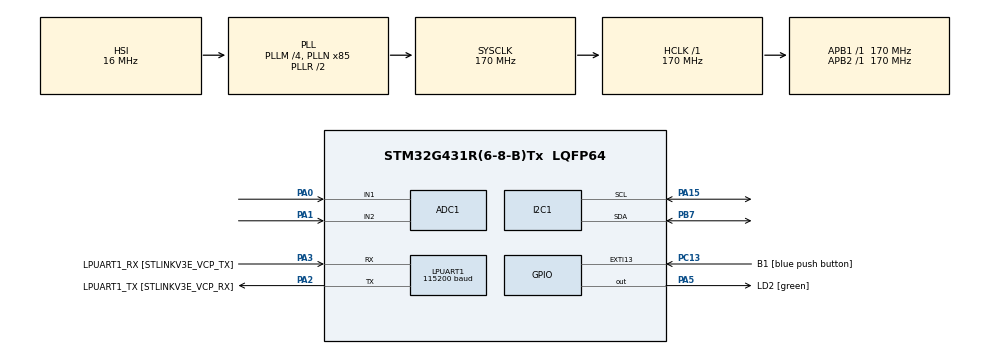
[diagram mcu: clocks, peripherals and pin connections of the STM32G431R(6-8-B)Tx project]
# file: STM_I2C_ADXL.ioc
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ADC1.Channel-0\#ChannelRegularConversion=ADC_CHANNEL_1
ADC1.NbrOfConversionFlag=1
ADC1.OffsetNumber-0\#ChannelRegularConversion=ADC_OFFSET_NONE
ADC1.Rank-0\#ChannelRegularConversion=1
ADC1.SamplingTime-0\#ChannelRegularConversion=ADC_SAMPLETIME_2CYCLES_5
ADC1.SingleDiff-0\#ChannelRegularConversion=ADC_DIFFERENTIAL_ENDED
ADC1.master=1
I2C1.Timing=0x30A0A7FB
LPUART1.BaudRate=115200
LPUART1.WordLength=UART_WORDLENGTH_8B
Mcu.Family=STM32G4
Mcu.Name=STM32G431R(6-8-B)Tx
Mcu.Package=LQFP64
NVIC.PriorityGroup=NVIC_PRIORITYGROUP_4
PA0.Mode=IN1-Differential
PA0.Signal=ADC1_IN1
PA1.Mode=IN1-Differential
PA1.Signal=ADC1_IN2
PA15.Mode=I2C
PA15.Signal=I2C1_SCL
PA2.GPIO_Label=LPUART1_TX [STLINKV3E_VCP_RX]
PA2.Mode=Asynchronous
PA2.Signal=LPUART1_TX
PA3.GPIO_Label=LPUART1_RX [STLINKV3E_VCP_TX]
PA3.Mode=Asynchronous
PA3.Signal=LPUART1_RX
PA5.GPIO_Label=LD2 [green]
PA5.Signal=GPIO_Output
PB3.GPIO_Label=T_SWO
PB3.Signal=SYS_JTDO-SWO
PB7.Mode=I2C
PB7.Signal=I2C1_SDA
PC13.GPIO_Label=B1 [blue push button]
PC13.Signal=GPXTI13
PC14-OSC32_IN.Mode=LSE-External-Oscillator
PC14-OSC32_IN.Signal=RCC_OSC32_IN
PC15-OSC32_OUT.Mode=LSE-External-Oscillator
PC15-OSC32_OUT.Signal=RCC_OSC32_OUT
PF0-OSC_IN.Mode=HSE-External-Oscillator
PF0-OSC_IN.Signal=RCC_OSC_IN
PF1-OSC_OUT.Mode=HSE-External-Oscillator
PF1-OSC_OUT.Signal=RCC_OSC_OUT
ProjectManager.HeapSize=0x200
ProjectManager.StackSize=0x400
ProjectManager.TargetToolchain=MDK-ARM V5.27
RCC.ADC12Freq_Value=170000000
RCC.AHBFreq_Value=170000000
RCC.APB1Freq_Value=170000000
RCC.APB1TimFreq_Value=170000000
RCC.APB2Freq_Value=170000000
RCC.APB2TimFreq_Value=170000000
RCC.CortexFreq_Value=170000000
RCC.EXTERNAL_CLOCK_VALUE=12288000
RCC.HCLKFreq_Value=170000000
RCC.HSE_VALUE=24000000
RCC.HSI48_VALUE=48000000
RCC.HSI_VALUE=16000000
RCC.PLLM=RCC_PLLM_DIV4
RCC.PLLN=85
RCC.RTCClockSelection=RCC_RTCCLKSOURCE_LSE
RCC.SYSCLKFreq_VALUE=170000000
RCC.SYSCLKSource=RCC_SYSCLKSOURCE_PLLCLK
RCC.USBFreq_Value=170000000
RCC.VCOOutputFreq_Value=340000000
VP_RTC_VS_RTC_Activate.Mode=RTC_Enabled
VP_SYS_VS_DBSignals.Mode=DisableDeadBatterySignals
board=NUCLEO-G431RB

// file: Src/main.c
/* USER CODE BEGIN Header */
/**
  ******************************************************************************
  * @file           : main.c
  * @brief          : Main program body
  ******************************************************************************
  * @attention
  *
  * <h2><center>&copy; Copyright (c) 2020 STMicroelectronics.
  * All rights reserved.</center></h2>
  *
  * This software component is licensed by ST under BSD 3-Clause license,
  * the "License"; You may not use this file except in compliance with the
  * License. You may obtain a copy of the License at:
  *                        opensource.org/licenses/BSD-3-Clause
  *
  ******************************************************************************
  */
/* USER CODE END Header */
#include "main.h"
#include "adc.h"
#include "i2c.h"
#include "usart.h"
#include "rtc.h"
#include "gpio.h"

/* USER CODE BEGIN PD */
#define ReadAddr	0xA7
#define WriteAddr	0xA6
/* USER CODE END PD */

/* USER CODE BEGIN PV */
uint8_t data_buf[6]={0},read_Buf[6]={0};
	float x_g,y_g,z_g;
	uint16_t x_LSB,y_LSB,z_LSB;
	uint8_t *tmp;
/* USER CODE END PV */

void SystemClock_Config(void);

int main(void)
{

  /* MCU Configuration--------------------------------------------------------*/

  /* Reset of all peripherals, Initializes the Flash interface and the Systick. */
  HAL_Init();

  /* Configure the system clock */
  SystemClock_Config();

  /* Initialize all configured peripherals */
  MX_GPIO_Init();
  MX_LPUART1_UART_Init();
  MX_ADC1_Init();
  MX_I2C1_Init();
  MX_RTC_Init();
  /* USER CODE BEGIN 2 */
	if(HAL_I2C_IsDeviceReady(&hi2c1,0x53<<1,3,100)==HAL_OK)			//Check if device is ready
	{
		HAL_GPIO_WritePin(LD2_GPIO_Port,LD2_Pin,1);
		HAL_Delay(500);
		HAL_GPIO_WritePin(LD2_GPIO_Port,LD2_Pin,0);
		HAL_Delay(500);

	}
	data_buf[0]=0x2D;		//address of Power_Control reg
	data_buf[1]=0x08;		//SET the measure bit and reset the sleep bit 0000 1000
	HAL_I2C_Master_Transmit(&hi2c1,WriteAddr,data_buf,2,100);
	memset(data_buf,0,6);

	data_buf[0]=0x31;		//address of Data_format Req
	data_buf[1]=0x02;		//SET the device in +-8g Range  0000 0010
	HAL_I2C_Master_Transmit(&hi2c1,WriteAddr,data_buf,2,100);
	memset(data_buf,0,6);
  /* USER CODE END 2 */

  /* Infinite loop */
  /* USER CODE BEGIN WHILE */
  while (1)
  {
		//HAL_I2C_Mem_Read(&hi2c1,0x53<<1,0x32,1,read_Buf,6,100);
		data_buf[0]=0x32;			//Data_register start address
		HAL_I2C_Master_Transmit(&hi2c1,WriteAddr,data_buf,1,100);
		HAL_I2C_Master_Receive(&hi2c1,ReadAddr,read_Buf,6,100);		//read_Buf the data register values

		for(int i=0;i<6;i++)
		 read_Buf[i] = (~read_Buf[i])+1;

		//Raw LSB Values
		x_LSB = ((read_Buf[1]<<8)&0xFF00) + read_Buf[0];
		y_LSB = ((read_Buf[3]<<8)&0xFF00) + read_Buf[2];
		z_LSB = ((read_Buf[5]<<8)&0xFF00) + read_Buf[4];

		//Coversion to g values
		//Range is +-8g
		//choose scale factor according to Table 1 of datasheet

		x_g = x_LSB * 15.6 / 1000;
		y_g = y_LSB * 15.6 / 1000;
		z_g = z_LSB * 15.6 / 1000;

		debug_printf("\n\r..........");
		debug_printf("\n\rx_g : %f",x_g);
		debug_printf("\n\ry_g : %f",y_g);
		debug_printf("\n\rz_g : %f",z_g);
		memset(read_Buf,0,6);
		HAL_Delay(5000);

    /* USER CODE END WHILE */

  }
}

void SystemClock_Config(void)
{
  RCC_OscInitTypeDef RCC_OscInitStruct = {0};
  RCC_ClkInitTypeDef RCC_ClkInitStruct = {0};
  RCC_PeriphCLKInitTypeDef PeriphClkInit = {0};

  /** Configure the main internal regulator output voltage
  */
  HAL_PWREx_ControlVoltageScaling(PWR_REGULATOR_VOLTAGE_SCALE1_BOOST);
  /** Configure LSE Drive Capability
  */
  HAL_PWR_EnableBkUpAccess();
  __HAL_RCC_LSEDRIVE_CONFIG(RCC_LSEDRIVE_LOW);
  /** Initializes the RCC Oscillators according to the specified parameters
  * in the RCC_OscInitTypeDef structure.
  */
  RCC_OscInitStruct.OscillatorType = RCC_OSCILLATORTYPE_HSI|RCC_OSCILLATORTYPE_LSE;
  RCC_OscInitStruct.LSEState = RCC_LSE_ON;
  RCC_OscInitStruct.HSIState = RCC_HSI_ON;
  RCC_OscInitStruct.HSICalibrationValue = RCC_HSICALIBRATION_DEFAULT;
  RCC_OscInitStruct.PLL.PLLState = RCC_PLL_ON;
  RCC_OscInitStruct.PLL.PLLSource = RCC_PLLSOURCE_HSI;
  RCC_OscInitStruct.PLL.PLLM = RCC_PLLM_DIV4;
  RCC_OscInitStruct.PLL.PLLN = 85;
  RCC_OscInitStruct.PLL.PLLP = RCC_PLLP_DIV2;
  RCC_OscInitStruct.PLL.PLLQ = RCC_PLLQ_DIV2;
  RCC_OscInitStruct.PLL.PLLR = RCC_PLLR_DIV2;
  if (HAL_RCC_OscConfig(&RCC_OscInitStruct) != HAL_OK)
  {
    Error_Handler();
  }
  /** Initializes the CPU, AHB and APB buses clocks
  */
  RCC_ClkInitStruct.ClockType = RCC_CLOCKTYPE_HCLK|RCC_CLOCKTYPE_SYSCLK
                              |RCC_CLOCKTYPE_PCLK1|RCC_CLOCKTYPE_PCLK2;
  RCC_ClkInitStruct.SYSCLKSource = RCC_SYSCLKSOURCE_PLLCLK;
  RCC_ClkInitStruct.AHBCLKDivider = RCC_SYSCLK_DIV1;
  RCC_ClkInitStruct.APB1CLKDivider = RCC_HCLK_DIV1;
  RCC_ClkInitStruct.APB2CLKDivider = RCC_HCLK_DIV1;

  if (HAL_RCC_ClockConfig(&RCC_ClkInitStruct, FLASH_LATENCY_4) != HAL_OK)
  {
    Error_Handler();
  }
  /** Initializes the peripherals clocks
  */
  PeriphClkInit.PeriphClockSelection = RCC_PERIPHCLK_RTC|RCC_PERIPHCLK_LPUART1
                              |RCC_PERIPHCLK_I2C1|RCC_PERIPHCLK_ADC12;
  PeriphClkInit.Lpuart1ClockSelection = RCC_LPUART1CLKSOURCE_PCLK1;
  PeriphClkInit.I2c1ClockSelection = RCC_I2C1CLKSOURCE_PCLK1;
  PeriphClkInit.Adc12ClockSelection = RCC_ADC12CLKSOURCE_SYSCLK;
  PeriphClkInit.RTCClockSelection = RCC_RTCCLKSOURCE_LSE;

  if (HAL_RCCEx_PeriphCLKConfig(&PeriphClkInit) != HAL_OK)
  {
    Error_Handler();
  }
}

void Error_Handler(void)
{
}

/************************ (C) COPYRIGHT STMicroelectronics *****END OF FILE****/
